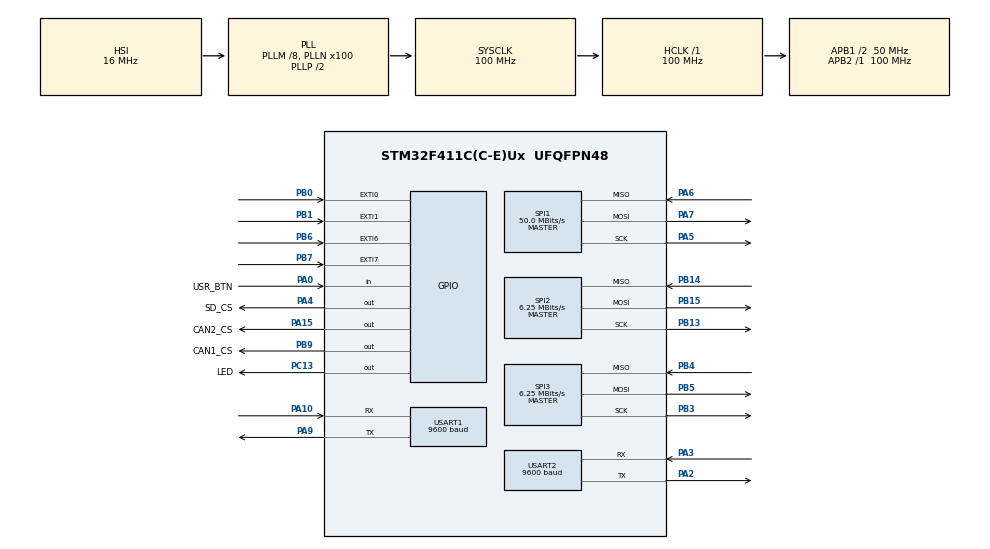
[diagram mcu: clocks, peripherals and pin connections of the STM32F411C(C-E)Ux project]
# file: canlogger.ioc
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Dma.Request0=SPI3_RX
Dma.Request1=SPI3_TX
Dma.Request2=SPI2_RX
Dma.Request3=SPI2_TX
Dma.SPI2_RX.2.Direction=DMA_PERIPH_TO_MEMORY
Dma.SPI2_RX.2.FIFOMode=DMA_FIFOMODE_DISABLE
Dma.SPI2_RX.2.Instance=DMA1_Stream3
Dma.SPI2_RX.2.MemDataAlignment=DMA_MDATAALIGN_BYTE
Dma.SPI2_RX.2.MemInc=DMA_MINC_ENABLE
Dma.SPI2_RX.2.Mode=DMA_NORMAL
Dma.SPI2_RX.2.PeriphDataAlignment=DMA_PDATAALIGN_BYTE
Dma.SPI2_RX.2.PeriphInc=DMA_PINC_DISABLE
Dma.SPI2_RX.2.Priority=DMA_PRIORITY_LOW
Dma.SPI2_TX.3.Direction=DMA_MEMORY_TO_PERIPH
Dma.SPI2_TX.3.FIFOMode=DMA_FIFOMODE_DISABLE
Dma.SPI2_TX.3.Instance=DMA1_Stream4
Dma.SPI2_TX.3.MemDataAlignment=DMA_MDATAALIGN_BYTE
Dma.SPI2_TX.3.MemInc=DMA_MINC_ENABLE
Dma.SPI2_TX.3.Mode=DMA_NORMAL
Dma.SPI2_TX.3.PeriphDataAlignment=DMA_PDATAALIGN_BYTE
Dma.SPI2_TX.3.PeriphInc=DMA_PINC_DISABLE
Dma.SPI2_TX.3.Priority=DMA_PRIORITY_LOW
Dma.SPI3_RX.0.Direction=DMA_PERIPH_TO_MEMORY
Dma.SPI3_RX.0.FIFOMode=DMA_FIFOMODE_DISABLE
Dma.SPI3_RX.0.Instance=DMA1_Stream0
Dma.SPI3_RX.0.MemDataAlignment=DMA_MDATAALIGN_BYTE
Dma.SPI3_RX.0.MemInc=DMA_MINC_ENABLE
Dma.SPI3_RX.0.Mode=DMA_NORMAL
Dma.SPI3_RX.0.PeriphDataAlignment=DMA_PDATAALIGN_BYTE
Dma.SPI3_RX.0.PeriphInc=DMA_PINC_DISABLE
Dma.SPI3_RX.0.Priority=DMA_PRIORITY_LOW
Dma.SPI3_TX.1.Direction=DMA_MEMORY_TO_PERIPH
Dma.SPI3_TX.1.FIFOMode=DMA_FIFOMODE_DISABLE
Dma.SPI3_TX.1.Instance=DMA1_Stream5
Dma.SPI3_TX.1.MemDataAlignment=DMA_MDATAALIGN_BYTE
Dma.SPI3_TX.1.MemInc=DMA_MINC_ENABLE
Dma.SPI3_TX.1.Mode=DMA_NORMAL
Dma.SPI3_TX.1.PeriphDataAlignment=DMA_PDATAALIGN_BYTE
Dma.SPI3_TX.1.PeriphInc=DMA_PINC_DISABLE
Dma.SPI3_TX.1.Priority=DMA_PRIORITY_LOW
Mcu.Family=STM32F4
Mcu.Name=STM32F411C(C-E)Ux
Mcu.Package=UFQFPN48
NVIC.DMA1_Stream0_IRQn=true\:1\:0\:true\:false\:true\:false\:true
NVIC.DMA1_Stream3_IRQn=true\:1\:0\:true\:false\:true\:false\:true
NVIC.DMA1_Stream4_IRQn=true\:1\:0\:true\:false\:true\:false\:true
NVIC.DMA1_Stream5_IRQn=true\:1\:0\:true\:false\:true\:false\:true
NVIC.EXTI0_IRQn=true\:1\:0\:true\:false\:true\:true\:true
NVIC.EXTI1_IRQn=true\:1\:0\:true\:false\:true\:true\:true
NVIC.EXTI9_5_IRQn=true\:1\:0\:true\:false\:true\:true\:true
NVIC.PriorityGroup=NVIC_PRIORITYGROUP_4
NVIC.SPI2_IRQn=true\:1\:0\:true\:false\:true\:true\:true
NVIC.SPI3_IRQn=true\:1\:0\:true\:false\:true\:true\:true
NVIC.USART2_IRQn=true\:0\:0\:true\:false\:true\:true\:true
PA0-WKUP.GPIO_Label=USR_BTN
PA0-WKUP.Signal=GPIO_Input
PA10.Mode=Asynchronous
PA10.Signal=USART1_RX
PA13.Mode=Serial_Wire
PA13.Signal=SYS_JTMS-SWDIO
PA14.Mode=Serial_Wire
PA14.Signal=SYS_JTCK-SWCLK
PA15.GPIO_Label=CAN2_CS
PA15.Signal=GPIO_Output
PA2.Mode=Asynchronous
PA2.Signal=USART2_TX
PA3.Mode=Asynchronous
PA3.Signal=USART2_RX
PA4.GPIO_Label=SD_CS
PA4.Signal=GPIO_Output
PA5.GPIO_PuPd=GPIO_NOPULL
PA5.Mode=Full_Duplex_Master
PA5.Signal=SPI1_SCK
PA6.GPIO_PuPd=GPIO_NOPULL
PA6.Mode=Full_Duplex_Master
PA6.Signal=SPI1_MISO
PA7.GPIO_PuPd=GPIO_NOPULL
PA7.Mode=Full_Duplex_Master
PA7.Signal=SPI1_MOSI
PA9.Mode=Asynchronous
PA9.Signal=USART1_TX
PB0.GPIO_ModeDefaultEXTI=GPIO_MODE_IT_FALLING
PB0.Signal=GPXTI0
PB1.GPIO_ModeDefaultEXTI=GPIO_MODE_IT_FALLING
PB1.Signal=GPXTI1
PB13.Mode=Full_Duplex_Master
PB13.Signal=SPI2_SCK
PB14.Mode=Full_Duplex_Master
PB14.Signal=SPI2_MISO
PB15.Mode=Full_Duplex_Master
PB15.Signal=SPI2_MOSI
PB3.GPIO_PuPd=GPIO_NOPULL
PB3.Mode=Full_Duplex_Master
PB3.Signal=SPI3_SCK
PB4.Mode=Full_Duplex_Master
PB4.Signal=SPI3_MISO
PB5.Mode=Full_Duplex_Master
PB5.Signal=SPI3_MOSI
PB6.GPIO_ModeDefaultEXTI=GPIO_MODE_IT_FALLING
PB6.Signal=GPXTI6
PB7.GPIO_ModeDefaultEXTI=GPIO_MODE_IT_FALLING
PB7.Signal=GPXTI7
PB9.GPIO_Label=CAN1_CS
PB9.Signal=GPIO_Output
PC13-ANTI_TAMP.GPIO_Label=LED
PC13-ANTI_TAMP.Signal=GPIO_Output
PC14-OSC32_IN.Mode=LSE-External-Oscillator
PC14-OSC32_IN.Signal=RCC_OSC32_IN
PC15-OSC32_OUT.Mode=LSE-External-Oscillator
PC15-OSC32_OUT.Signal=RCC_OSC32_OUT
PH0\ -\ OSC_IN.Mode=HSE-External-Oscillator
PH0\ -\ OSC_IN.Signal=RCC_OSC_IN
PH1\ -\ OSC_OUT.Mode=HSE-External-Oscillator
PH1\ -\ OSC_OUT.Signal=RCC_OSC_OUT
ProjectManager.HeapSize=0x200
ProjectManager.StackSize=0x400
ProjectManager.TargetToolchain=STM32CubeIDE
RCC.48MHZClocksFreq_Value=50000000
RCC.AHBFreq_Value=100000000
RCC.APB1CLKDivider=RCC_HCLK_DIV2
RCC.APB1Freq_Value=50000000
RCC.APB1TimFreq_Value=100000000
RCC.APB2Freq_Value=100000000
RCC.APB2TimFreq_Value=100000000
RCC.CortexFreq_Value=100000000
RCC.HCLKFreq_Value=100000000
RCC.HSE_VALUE=25000000
RCC.HSI_VALUE=16000000
RCC.PLLM=8
RCC.PLLN=100
RCC.RCC_RTC_Clock_Source=RCC_RTCCLKSOURCE_LSE
RCC.RCC_RTC_Clock_SourceVirtual=RCC_RTCCLKSOURCE_LSE
RCC.SYSCLKFreq_VALUE=100000000
RCC.SYSCLKSource=RCC_SYSCLKSOURCE_PLLCLK
RCC.VCOOutputFreq_Value=200000000
SPI1.BaudRatePrescaler=SPI_BAUDRATEPRESCALER_2
SPI1.CalculateBaudRate=50.0 MBits/s
SPI1.Direction=SPI_DIRECTION_2LINES
SPI1.Mode=SPI_MODE_MASTER
SPI1.VirtualType=VM_MASTER
SPI2.BaudRatePrescaler=SPI_BAUDRATEPRESCALER_8
SPI2.CalculateBaudRate=6.25 MBits/s
SPI2.Direction=SPI_DIRECTION_2LINES
SPI2.Mode=SPI_MODE_MASTER
SPI2.VirtualType=VM_MASTER
SPI3.BaudRatePrescaler=SPI_BAUDRATEPRESCALER_8
SPI3.CalculateBaudRate=6.25 MBits/s
SPI3.Direction=SPI_DIRECTION_2LINES
SPI3.Mode=SPI_MODE_MASTER
SPI3.VirtualType=VM_MASTER
USART1.BaudRate=9600
USART1.VirtualMode=VM_ASYNC
USART2.BaudRate=9600
USART2.VirtualMode=VM_ASYNC
VP_FATFS_VS_Generic.Mode=User_defined
VP_RTC_VS_RTC_Activate.Mode=RTC_Enabled
board=custom

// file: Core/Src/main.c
/* USER CODE BEGIN Header */
/**
  ******************************************************************************
  * @file           : main.c
  * @brief          : Main program body
  ******************************************************************************
  * @attention
  *
  * <h2><center>&copy; Copyright (c) 2022 STMicroelectronics.
  * All rights reserved.</center></h2>
  *
  * This software component is licensed by ST under BSD 3-Clause license,
  * the "License"; You may not use this file except in compliance with the
  * License. You may obtain a copy of the License at:
  *                        opensource.org/licenses/BSD-3-Clause
  *
  ******************************************************************************
  */
/* USER CODE END Header */
#include "main.h"
#include "dma.h"
#include "fatfs.h"
#include "rtc.h"
#include "spi.h"
#include "usart.h"
#include "gpio.h"

/* USER CODE BEGIN Includes */
#include "bluetooth.h"
#include "can.h"
#include "storage.h"
#include "globals.h"
#include "test_gen_can.h"

extern struct circularBuffer buf1;
extern struct circularBuffer buf2;
/* USER CODE END Includes */

void SystemClock_Config(void);

/* USER CODE BEGIN 0 */
void HAL_SPI_TxRxCpltCallback(SPI_HandleTypeDef *hspi) {
    if (hspi == &hspi2) handle_dma_done1();
    else if (hspi == &hspi3) handle_dma_done2();
}

void HAL_UARTEx_RxEventCallback(UART_HandleTypeDef *huart, uint16_t len) {
    if(huart == &huart2){
        handle_bt_irq(len);
    }
}

/* USER CODE END 0 */

int main(void)
{
  /* USER CODE BEGIN 1 */
  FATFS FatFs;
  FIL fil;
  FRESULT fres;
  /* USER CODE END 1 */

  /* MCU Configuration--------------------------------------------------------*/

  /* Reset of all peripherals, Initializes the Flash interface and the Systick. */
  HAL_Init();

  /* Configure the system clock */
  SystemClock_Config();

  /* Initialize all configured peripherals */
  MX_GPIO_Init();
  MX_DMA_Init();
  MX_SPI3_Init();
  MX_SPI1_Init();
  MX_SPI2_Init();
  MX_USART1_UART_Init();
  MX_USART2_UART_Init();
  MX_RTC_Init();
  MX_FATFS_Init();
  /* USER CODE BEGIN 2 */
    /* INIT CODE HERE */

#ifdef PRODUCTION_OFFLOAD
    if (init_storage(&FatFs)) Error_Handler();
    if (init_bt()) Error_Handler();
#endif
#if defined(PRODUCTION_GEN) || defined(TEST_GEN_CAN)
    if (init_can()) Error_Handler();
#endif
    HAL_UART_Transmit(&huart1, (uint8_t *) "Canlogger v0.1 boot successful\n", 31, HAL_MAX_DELAY);

#ifdef TEST_GEN_FIXED
    test_generate_data();
#endif

  /* USER CODE END 2 */

  /* Infinite loop */
  /* USER CODE BEGIN WHILE */
    while (1) {

#ifdef TEST_GEN_CAN
        test_gen_can();
#endif
#ifdef PRODUCTION_OFFLOAD
        handle_unmount();
        if (pop_buf()) Error_Handler();
        if (handle_bt()) Error_Handler();
#endif
#ifdef PRODUCTION_GEN
        handle_can_panic();
#endif
#ifdef TEST_OFFLOAD_UART
        test_offload_data();
#endif

    /* USER CODE END WHILE */

    }
}

void SystemClock_Config(void)
{
  RCC_OscInitTypeDef RCC_OscInitStruct = {0};
  RCC_ClkInitTypeDef RCC_ClkInitStruct = {0};

  /** Configure the main internal regulator output voltage
  */
  __HAL_RCC_PWR_CLK_ENABLE();
  __HAL_PWR_VOLTAGESCALING_CONFIG(PWR_REGULATOR_VOLTAGE_SCALE1);
  /** Initializes the RCC Oscillators according to the specified parameters
  * in the RCC_OscInitTypeDef structure.
  */
  RCC_OscInitStruct.OscillatorType = RCC_OSCILLATORTYPE_HSI|RCC_OSCILLATORTYPE_LSE;
  RCC_OscInitStruct.LSEState = RCC_LSE_ON;
  RCC_OscInitStruct.HSIState = RCC_HSI_ON;
  RCC_OscInitStruct.HSICalibrationValue = RCC_HSICALIBRATION_DEFAULT;
  RCC_OscInitStruct.PLL.PLLState = RCC_PLL_ON;
  RCC_OscInitStruct.PLL.PLLSource = RCC_PLLSOURCE_HSI;
  RCC_OscInitStruct.PLL.PLLM = 8;
  RCC_OscInitStruct.PLL.PLLN = 100;
  RCC_OscInitStruct.PLL.PLLP = RCC_PLLP_DIV2;
  RCC_OscInitStruct.PLL.PLLQ = 4;
  if (HAL_RCC_OscConfig(&RCC_OscInitStruct) != HAL_OK)
  {
    Error_Handler();
  }
  /** Initializes the CPU, AHB and APB buses clocks
  */
  RCC_ClkInitStruct.ClockType = RCC_CLOCKTYPE_HCLK|RCC_CLOCKTYPE_SYSCLK
                              |RCC_CLOCKTYPE_PCLK1|RCC_CLOCKTYPE_PCLK2;
  RCC_ClkInitStruct.SYSCLKSource = RCC_SYSCLKSOURCE_PLLCLK;
  RCC_ClkInitStruct.AHBCLKDivider = RCC_SYSCLK_DIV1;
  RCC_ClkInitStruct.APB1CLKDivider = RCC_HCLK_DIV2;
  RCC_ClkInitStruct.APB2CLKDivider = RCC_HCLK_DIV1;

  if (HAL_RCC_ClockConfig(&RCC_ClkInitStruct, FLASH_LATENCY_3) != HAL_OK)
  {
    Error_Handler();
  }
}

void Error_Handler(void)
{
  /* USER CODE BEGIN Error_Handler_Debug */
    /* User can add his own implementation to report the HAL error return state */

    // Current error handler is a fast eternal blinky.
    uint8_t switch_state = 0;
    while (1) {
        if(!HAL_GPIO_ReadPin(USR_BTN_GPIO_Port, USR_BTN_Pin) && switch_state == 1){
            HAL_NVIC_SystemReset();
        }
        if(HAL_GPIO_ReadPin(USR_BTN_GPIO_Port, USR_BTN_Pin) && switch_state == 0){
            switch_state = 1;
        }
        HAL_GPIO_WritePin(LED_GPIO_Port, LED_Pin, GPIO_PIN_RESET);
        HAL_Delay(100);
        HAL_GPIO_WritePin(LED_GPIO_Port, LED_Pin, GPIO_PIN_SET);
        HAL_Delay(100);
    }

  /* USER CODE END Error_Handler_Debug */
}
